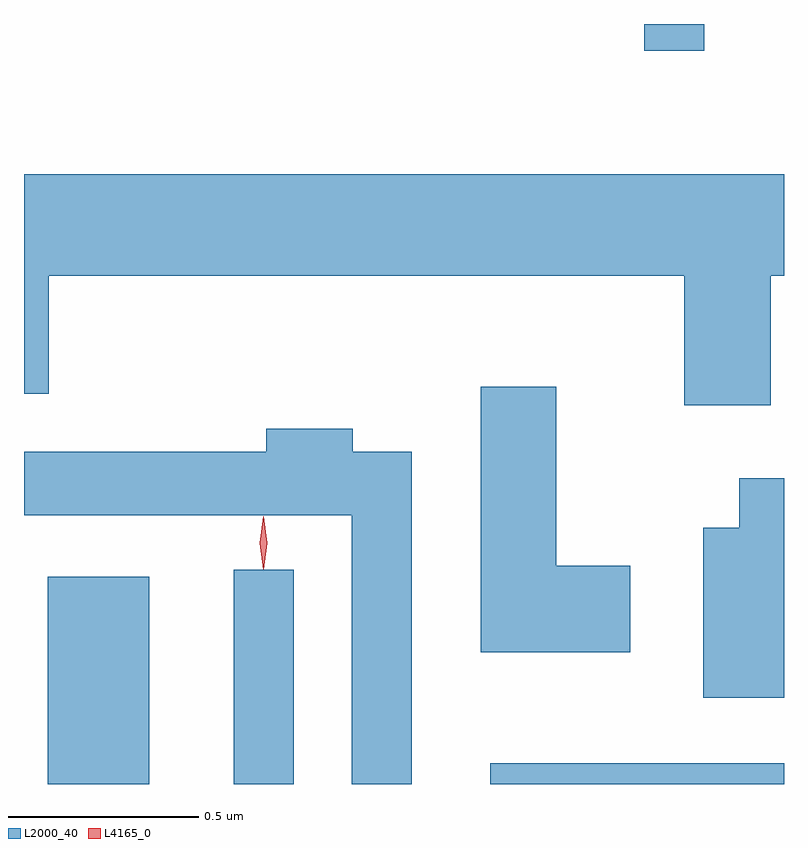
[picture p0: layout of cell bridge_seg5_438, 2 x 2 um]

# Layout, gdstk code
import gdstk
lib = gdstk.Library(unit=1e-6, precision=1e-09)
def R(c, l, rs):  # rectangles x0, y0, x1, y1
    for r in rs: c.add(gdstk.rectangle(r[:2], r[2:], *l))
def P(c, l, *ps):  # polygons
    for p in ps: c.add(gdstk.Polygon(p, *l))
L2000_40 = (2000, 40)
L4165_0 = (4165, 0)

bridge_seg5_438 = lib.new_cell('bridge_seg5_438')
R(bridge_seg5_438, L2000_40, [(541.976,1515.399,542.244,1515.944), (542.466,1515.399,542.624,1515.963), (543.141,1515.399,543.914,1515.454), (543.546,1517.328,543.704,1517.399)])
P(bridge_seg5_438, L2000_40, [(543.879,1516.736),(543.914,1516.736),(543.914,1517.004),(541.914,1517.004),(541.914,1516.426),(541.979,1516.426),(541.979,1516.736),(543.651,1516.736),(543.651,1516.396),(543.879,1516.396)],
  [(543.509,1515.974),(543.314,1515.974),(543.314,1516.444),(543.116,1516.444),(543.116,1515.746),(543.509,1515.746)],
  [(542.934,1516.274),(542.779,1516.274),(542.779,1516.334),(542.551,1516.334),(542.551,1516.274),(541.914,1516.274),(541.914,1516.106),(542.776,1516.106),(542.776,1515.399),(542.934,1515.399)],
  [(543.914,1516.204),(543.796,1516.204),(543.796,1516.074),(543.701,1516.074),(543.701,1515.626),(543.914,1515.626)])
P(bridge_seg5_438, L4165_0, [(542.544,1515.967),(542.535,1516.034),(542.544,1516.1),(542.544,1516.1),(542.545,1516.1),(542.554,1516.034),(542.545,1515.967),(542.545,1515.967)],
  [(542.544,1515.964),(542.544,1515.964),(542.534,1516.033),(542.544,1516.102),(542.544,1516.103),(542.545,1516.102),(542.554,1516.033),(542.545,1515.964)])

lib.write_gds('bridge_seg5_438.gds')
